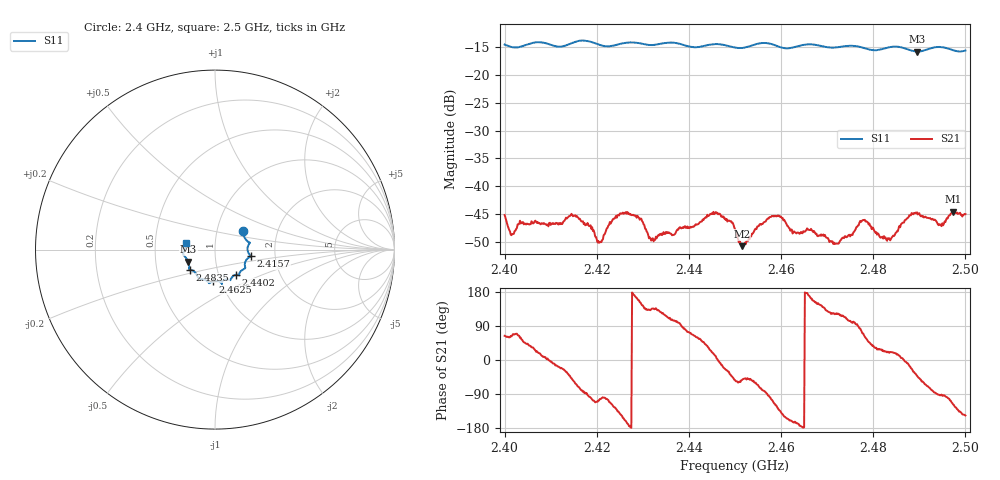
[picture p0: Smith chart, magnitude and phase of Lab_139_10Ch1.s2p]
# Hz S RI R 50
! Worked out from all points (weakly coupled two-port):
!   601 points, 2.4 GHz to 2.5 GHz, reference 50 ohm
!   highest |S21| = -44.58 dB at 2.4973 GHz (marker M1); lowest = -50.8 dB at 2.4515 GHz (marker M2)
!   lowest |S11| = -15.7 dB at 2.4895 GHz (marker M3), VSWR 1.39, Z = 36.8 - j5.14 ohm
!   |S11| at or under -10 dB: start of sweep to end of sweep
!   S12 and S22 are empty: the file has one direction only
!   S11 on the Smith chart (normalised r, x): 2.4 GHz: 1.33, +0.29; 2.4157 GHz: 1.49, -0.11; 2.4402 GHz: 1.20, -0.35; 2.4625 GHz: 0.92, -0.34; 2.4835 GHz: 0.74, -0.17; 2.5 GHz: 0.72, +0.05
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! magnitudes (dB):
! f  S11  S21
! 2.4 GHz  -14.5  -45.2
! 2.4017 GHz  -14.9  -48.6
! 2.4157 GHz  -13.9  -45.4
! 2.4167 GHz  -13.7  -46.4
! 2.4205 GHz  -14.5  -50.2
! 2.4262 GHz  -14.2  -44.9
! 2.4333 GHz  -14.4  -48.8
! 2.4402 GHz  -14.9  -47.6
! 2.4457 GHz  -14.4  -44.8
! 2.45 GHz  -15.0  -47.7
! 2.4515 GHz  -15.1  -50.8
! 2.458 GHz  -14.4  -45.4
! 2.4625 GHz  -15.0  -48.5
! 2.4667 GHz  -14.4  -48.0
! 2.4722 GHz  -15.0  -50.3
! 2.478 GHz  -15.1  -46.1
! 2.4833 GHz  -15.0  -49.4
! 2.4835 GHz  -15.0  -49.4
! 2.4895 GHz  -15.7  -44.7
! 2.4947 GHz  -14.9  -47.0
! 2.4973 GHz  -15.5  -44.6
! 2.5 GHz  -15.5  -45.0
